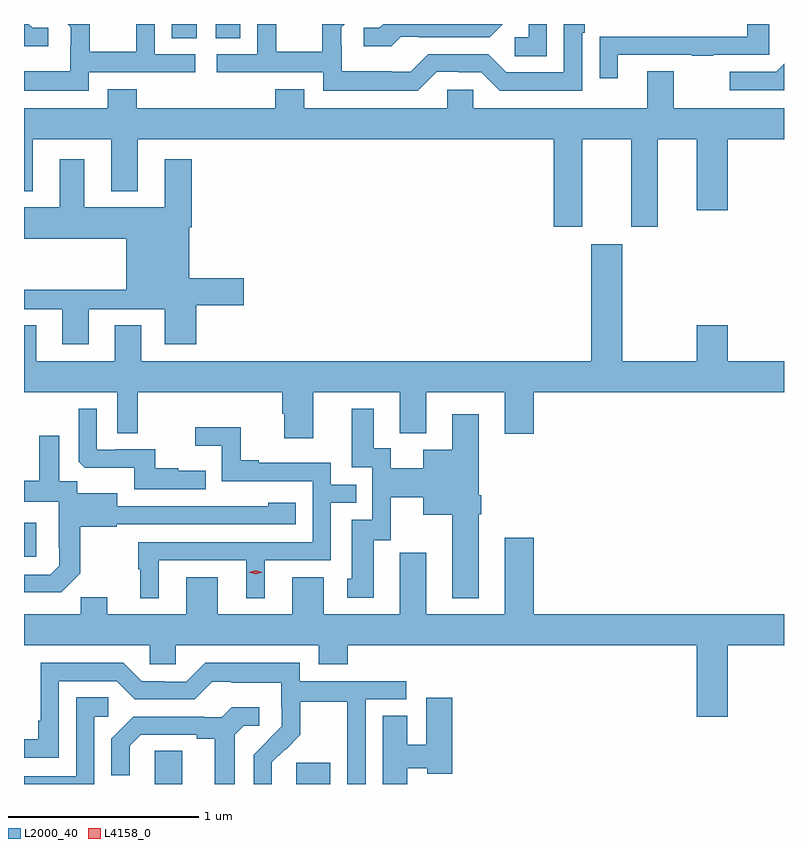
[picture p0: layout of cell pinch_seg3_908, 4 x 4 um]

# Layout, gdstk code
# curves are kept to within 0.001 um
import gdstk
lib = gdstk.Library(unit=1e-6, precision=1e-09)
def R(c, l, rs):  # rectangles x0, y0, x1, y1
    for r in rs: c.add(gdstk.rectangle(r[:2], r[2:], *l))
def P(c, l, *ps):  # polygons
    for p in ps: c.add(gdstk.Polygon(p, *l))
L2000_40 = (2000, 40)
L4158_0 = (4158, 0)

pinch_seg3_908 = lib.new_cell('pinch_seg3_908')
R(pinch_seg3_908, L2000_40, [(821.496,670.883,821.641,671.057), (822.242,670.883,822.421,670.995), (820.808,672.078,820.873,672.259), (821.585,674.809,821.716,674.883), (821.816,674.809,821.947,674.883)])
P(pinch_seg3_908, L2000_40, [(823.933,674.721),(824.323,674.721),(824.323,674.716),(824.435,674.716),(824.435,674.721),(824.73,674.721),(824.73,674.883),(824.614,674.883),(824.614,674.817),(823.939,674.817),(823.939,674.816),(823.837,674.816),(823.837,674.598),(823.933,674.598)],
  [(822.792,674.817),(822.886,674.817),(822.886,674.814),(823.258,674.814),(823.327,674.883),(822.699,674.883),(822.678,674.862),(822.597,674.862),(822.597,674.765),(822.74,674.765)],
  [(821.148,674.628),(821.71,674.628),(821.71,674.724),(821.496,674.724),(821.496,674.883),(821.398,674.883),(821.398,674.737),(821.153,674.737),(821.153,674.883),(821.037,674.883),(821.054,674.866),(821.054,674.769),(821.052,674.769),(821.052,674.635),(820.808,674.635),(820.808,674.531),(821.148,674.531)],
  [(822.981,674.631),(823.097,674.631),(823.097,674.628),(823.215,674.628),(823.311,674.532),(823.746,674.532),(823.746,674.837),(823.759,674.837),(823.759,674.883),(823.65,674.883),(823.65,674.628),(823.347,674.628),(823.251,674.724),(822.936,674.724),(822.843,674.631),(822.743,674.631),(822.743,674.635),(822.48,674.635),(822.48,674.769),(822.478,674.769),(822.478,674.866),(822.495,674.883),(822.379,674.883),(822.379,674.737),(822.135,674.737),(822.135,674.883),(822.036,674.883),(822.036,674.724),(821.823,674.724),(821.823,674.628),(822.384,674.628),(822.384,674.531),(822.881,674.531)],
  [(823.56,674.883),(823.464,674.883),(823.464,674.814),(823.392,674.814),(823.392,674.713),(823.56,674.713)],
  [(820.936,674.862),(820.854,674.862),(820.833,674.883),(820.808,674.883),(820.808,674.765),(820.936,674.765)],
  [(824.808,674.673),(824.766,674.631),(824.523,674.631),(824.523,674.535),(824.808,674.535)],
  [(823.747,674.276),(824.003,674.276),(824.003,673.815),(824.143,673.815),(824.143,674.276),(824.348,674.276),(824.348,673.902),(824.512,673.902),(824.512,674.276),(824.808,674.276),(824.808,674.44),(824.227,674.44),(824.227,674.635),(824.087,674.635),(824.087,674.44),(823.173,674.44),(823.173,674.538),(823.035,674.538),(823.035,674.44),(822.283,674.44),(822.283,674.539),(822.131,674.539),(822.131,674.44),(821.402,674.44),(821.402,674.539),(821.249,674.539),(821.249,674.44),(820.808,674.44),(820.808,674.003),(820.855,674.003),(820.855,674.276),(821.267,674.276),(821.267,674.003),(821.407,674.003),(821.407,674.276),(823.595,674.276),(823.595,673.815),(823.747,673.815)],
  [(821.149,673.383),(821.549,673.383),(821.549,673.197),(821.714,673.197),(821.714,673.402),(821.965,673.402),(821.965,673.544),(821.677,673.544),(821.677,673.814),(821.69,673.814),(821.69,674.17),(821.549,674.17),(821.549,673.918),(821.125,673.918),(821.125,674.17),(820.997,674.17),(820.997,673.918),(820.808,673.918),(820.808,673.754),(821.345,673.754),(821.345,673.484),(820.808,673.484),(820.808,673.383),(821.009,673.383),(821.009,673.197),(821.149,673.197)],
  [(822.331,672.944),(822.785,672.944),(822.785,672.728),(822.925,672.728),(822.925,672.944),(823.337,672.944),(823.337,672.726),(823.49,672.726),(823.49,672.944),(824.808,672.944),(824.808,673.108),(824.512,673.108),(824.512,673.297),(824.348,673.297),(824.348,673.108),(823.957,673.108),(823.957,673.723),(823.793,673.723),(823.793,673.108),(821.425,673.108),(821.425,673.298),(821.285,673.298),(821.285,673.108),(820.873,673.108),(820.873,673.298),(820.808,673.298),(820.808,672.944),(821.298,672.944),(821.298,672.73),(821.407,672.73),(821.407,672.944),(822.167,672.944),(822.167,672.831),(822.179,672.831),(822.179,672.702),(822.331,672.702)],
  [(823.201,672.303),(823.214,672.303),(823.214,672.403),(823.201,672.403),(823.201,672.829),(823.061,672.829),(823.061,672.643),(822.908,672.643),(822.908,672.544),(822.739,672.544),(822.739,672.65),(822.649,672.65),(822.649,672.859),(822.533,672.859),(822.533,672.549),(822.642,672.549),(822.642,672.273),(822.533,672.273),(822.533,671.964),(822.509,671.964),(822.509,671.862),(822.649,671.862),(822.649,672.165),(822.738,672.165),(822.738,672.392),(822.908,672.392),(822.908,672.299),(823.061,672.299),(823.061,671.861),(823.201,671.861)],
  [(821.765,672.532),(821.621,672.532),(821.621,672.544),(821.498,672.544),(821.498,672.645),(821.29,672.645),(821.29,672.642),(821.19,672.642),(821.19,672.859),(821.097,672.859),(821.097,672.579),(821.129,672.548),(821.388,672.548),(821.388,672.435),(821.765,672.435)],
  [(821.518,672.06),(821.978,672.06),(821.978,671.861),(822.076,671.861),(822.076,672.06),(822.423,672.06),(822.423,672.363),(822.557,672.363),(822.557,672.459),(822.423,672.459),(822.423,672.573),(822.043,672.573),(822.043,672.586),(821.949,672.586),(821.949,672.761),(821.709,672.761),(821.709,672.662),(821.85,672.662),(821.85,672.477),(822.327,672.477),(822.327,672.156),(821.409,672.156),(821.409,672.012),(821.42,672.012),(821.42,671.861),(821.518,671.861)],
  [(821.103,671.991),(821.103,672.237),(821.295,672.237),(821.295,672.249),(822.238,672.249),(822.238,672.364),(822.093,672.364),(822.093,672.346),(821.299,672.345),(821.299,672.412),(821.088,672.412),(821.088,672.476),(820.993,672.476),(820.993,672.715),(820.889,672.715),(820.889,672.478),(820.808,672.478),(820.808,672.368),(820.992,672.368),(820.992,672.127),(820.994,672.127),(820.994,672.032),(820.947,671.985),(820.808,671.985),(820.808,671.891),(821.003,671.891)],
  [(824.512,671.612),(824.808,671.612),(824.808,671.776),(823.49,671.776),(823.49,672.178),(823.337,672.178),(823.337,671.776),(822.925,671.776),(822.925,672.1),(822.786,672.1),(822.786,671.987),(822.785,671.987),(822.785,671.776),(822.385,671.776),(822.385,671.971),(822.221,671.971),(822.221,671.776),(821.827,671.776),(821.827,671.971),(821.663,671.971),(821.663,671.776),(821.245,671.776),(821.245,671.867),(821.107,671.867),(821.107,671.776),(820.808,671.776),(820.808,671.612),(821.469,671.612),(821.469,671.514),(821.607,671.514),(821.607,671.612),(822.359,671.612),(822.359,671.513),(822.512,671.513),(822.512,671.612),(824.348,671.612),(824.348,671.238),(824.512,671.238)],
  [(822.113,670.997),(822.183,671.067),(822.186,671.064),(822.263,671.141),(822.263,671.316),(822.508,671.316),(822.508,671.092),(822.51,671.092),(822.51,670.883),(822.606,670.883),(822.606,671.328),(822.82,671.328),(822.82,671.424),(822.258,671.424),(822.258,671.521),(821.761,671.521),(821.661,671.421),(821.546,671.421),(821.546,671.424),(821.427,671.424),(821.331,671.52),(820.896,671.52),(820.896,671.215),(820.883,671.215),(820.883,671.118),(820.808,671.118),(820.808,671.022),(820.992,671.022),(820.992,671.424),(821.295,671.424),(821.391,671.328),(821.706,671.328),(821.799,671.421),(821.899,671.421),(821.899,671.417),(822.162,671.417),(822.162,671.283),(822.164,671.283),(822.164,671.186),(822.018,671.038),(822.018,670.883),(822.113,670.883)],
  [(821.178,671.238),(821.251,671.238),(821.251,671.339),(821.082,671.339),(821.082,670.923),(820.808,670.923),(820.808,670.883),(821.178,670.883)],
  [(822.826,670.967),(822.93,670.967),(822.93,670.937),(823.061,670.937),(823.061,671.338),(822.926,671.338),(822.926,671.089),(822.826,671.089),(822.826,671.243),(822.695,671.243),(822.695,670.883),(822.826,670.883)],
  [(821.917,671.143),(821.964,671.19),(822.046,671.19),(822.046,671.287),(821.902,671.287),(821.85,671.235),(821.756,671.235),(821.756,671.238),(821.384,671.238),(821.268,671.122),(821.268,670.929),(821.365,670.929),(821.365,671.085),(821.422,671.142),(821.717,671.142),(821.717,671.12),(821.813,671.12),(821.813,670.883),(821.917,670.883)])
P(pinch_seg3_908, L4158_0, [(822.027,671.987),(821.991,671.997),(821.991,671.997),(821.991,671.997),(822.027,672.007),(822.063,671.997),(822.063,671.997),(822.063,671.997)])

lib.write_gds('pinch_seg3_908.gds')
